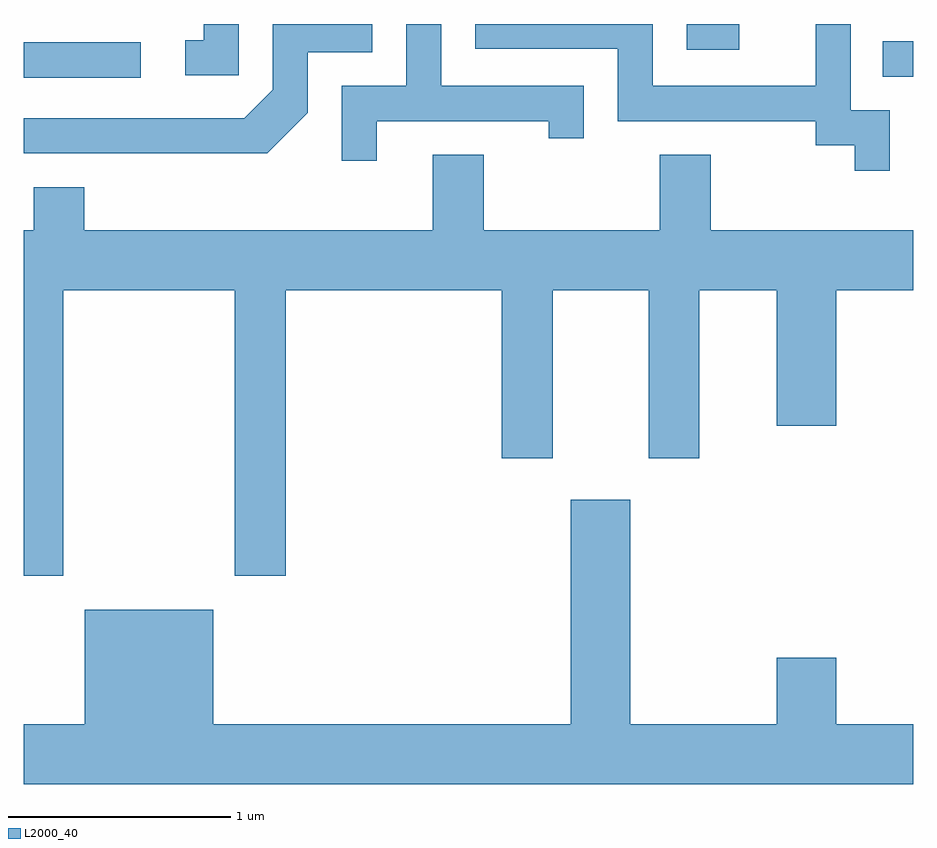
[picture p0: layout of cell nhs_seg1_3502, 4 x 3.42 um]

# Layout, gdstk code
import gdstk
lib = gdstk.Library(unit=1e-6, precision=1e-09)
def R(c, l, rs):  # rectangles x0, y0, x1, y1
    for r in rs: c.add(gdstk.rectangle(r[:2], r[2:], *l))
def P(c, l, *ps):  # polygons
    for p in ps: c.add(gdstk.Polygon(p, *l))
L2000_40 = (2000, 40)

nhs_seg1_3502 = lib.new_cell('nhs_seg1_3502')
R(nhs_seg1_3502, L2000_40, [(291.611,849.471,292.138,849.629), (295.473,849.476,295.611,849.634), (294.591,849.596,294.828,849.712)])
P(nhs_seg1_3502, L2000_40, [(292.889,849.314),(292.889,849.586),(293.179,849.586),(293.179,849.712),(292.731,849.712),(292.731,849.417),(292.604,849.289),(291.611,849.289),(291.611,849.131),(292.707,849.131)],
  [(293.199,849.276),(293.971,849.276),(293.971,849.198),(294.129,849.198),(294.129,849.434),(293.489,849.434),(293.489,849.712),(293.331,849.712),(293.331,849.434),(293.041,849.434),(293.041,849.098),(293.199,849.098)],
  [(295.504,849.324),(295.329,849.324),(295.329,849.712),(295.171,849.712),(295.171,849.434),(294.439,849.434),(294.439,849.712),(293.641,849.712),(293.641,849.601),(294.281,849.601),(294.281,849.276),(295.171,849.276),(295.171,849.166),(295.346,849.166),(295.346,849.053),(295.504,849.053)],
  [(292.579,849.712),(292.421,849.712),(292.421,849.639),(292.338,849.639),(292.338,849.481),(292.579,849.481)],
  [(291.789,848.516),(292.561,848.516),(292.561,847.231),(292.789,847.231),(292.789,848.516),(293.761,848.516),(293.761,847.761),(293.989,847.761),(293.989,848.516),(294.421,848.516),(294.421,847.761),(294.649,847.761),(294.649,848.516),(294.996,848.516),(294.996,847.906),(295.264,847.906),(295.264,848.516),(295.611,848.516),(295.611,848.784),(294.699,848.784),(294.699,849.124),(294.471,849.124),(294.471,848.784),(293.679,848.784),(293.679,849.124),(293.451,849.124),(293.451,848.784),(291.884,848.784),(291.884,848.979),(291.656,848.979),(291.656,848.784),(291.611,848.784),(291.611,847.231),(291.789,847.231)],
  [(295.611,846.564),(295.264,846.564),(295.264,846.864),(294.996,846.864),(294.996,846.564),(294.339,846.564),(294.339,847.574),(294.071,847.574),(294.071,846.564),(292.464,846.564),(292.464,847.079),(291.886,847.079),(291.886,846.564),(291.611,846.564),(291.611,846.296),(295.611,846.296)])

lib.write_gds('nhs_seg1_3502.gds')
